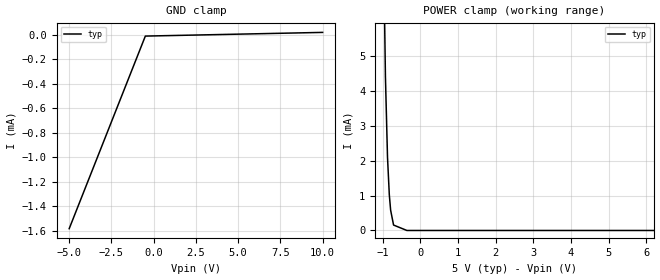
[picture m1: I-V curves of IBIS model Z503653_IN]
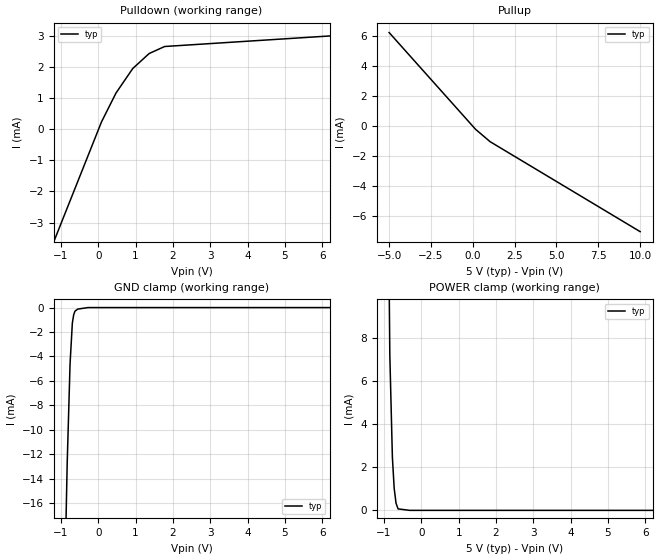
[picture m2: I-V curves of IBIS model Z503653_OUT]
| YOU ARE ONLY AUTHORIZED TO USE THIS SOFTWARE
| ACCORDING TO LICENSOR'S LICENSE RESTRICTIONS.
[IBIS Ver] 3.1
[File Name] mc14536bcl.ibs
[File Rev] 2.0
[Source] Measured and created by ICX Technology
[Date] Friday 7/14/00 9:07:56 AM
[Copyright]
| (C) COPYRIGHT 1993-2000
| MENTOR GRAPHICS CORPORATION
| ICX STANDARD LIBRARY, ICX PROJECT MODELING,
| ICX CUSTOM MODELING, ICX VENDOR MODEL
| ALL RIGHTS RESERVED.
| THE FOLLOWING ARE TRADEMARKS OR SERVICE MARKS OF
| MENTOR GRAPHICS CORPORATION:ICX (R), ICX STANDARD
| LIBRARY(R), ICX PROJECT MODELING(R), ICX CUSTOM
| MODELING(R), qualityIBIS(TM), MODELVIEWER(TM),
| AND MODELEDITOR(TM)
| ALL COPIES OF SOFTWARE, INCLUDING BUT NOT LIMITED TO
| ANY MODIFICATIONS, ENHANCEMENTS OR DERIVATIVE WORKS,
| MUST CONTAIN ALL MENTOR GRAPHICS CORPORATION'S
| NOTICES AND LEGENDS, INCLUDING THOSE EMBEDDED IN
| SOFTWARE AND THOSE AFFIXED TO SOFTWARE MEDIUM
| AND CONTAINER, AS RECEIVED FROM MENTOR GRAPHICS
| CORPORATION.
|  ZAP Model Builder 2.7
[Component] MC14536BCL
[Manufacturer] OnSemiconductor
[Package]
| variable   typ   min   max
R_pkg  .212ohms NA NA
L_pkg  4.758nH NA NA
C_pkg  1.944pF NA NA
[Pin] signal_name  model_name  R_pin  L_pin C_pin
1 SET Z503653_IN .224 7.258n 2.683p
2 RESET Z503653_IN .216 5.258n 2.19p
3 IN1 Z503653_IN .208 3.758n 1.697p
4 OUT1 Z503653_OUT .2 2.758n 1.204p
5 OUT2 Z503653_OUT .2 2.758n 1.204p
6 8_BYPASS Z503653_IN .208 3.758n 1.697p
7 CLK_INH Z503653_IN .216 5.258n 2.19p
8 VSS POWER .224 7.258n 2.683p
9 A Z503653_IN .224 7.258n 2.683p
10 B Z503653_IN .216 5.258n 2.19p
11 C Z503653_IN .208 3.758n 1.697p
12 D Z503653_IN .2 2.758n 1.204p
13 DECODE Z503653_OUT .2 2.758n 1.204p
14 OSC_INH Z503653_IN .208 3.758n 1.697p
15 MONO_IN Z503653_IN .216 5.258n 2.19p
16 VDD POWER .224 7.258n 2.683p
| Models and submodels in the file (2): Z503653_IN (Input), Z503653_OUT (Output)
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| (C) COPYRIGHT 1993-2000
| MENTOR GRAPHICS CORPORATION
| ICX STANDARD LIBRARY, ICX PROJECT MODELING,
| ICX CUSTOM MODELING, ICX VENDOR MODEL
| ALL RIGHTS RESERVED.
| THE FOLLOWING ARE TRADEMARKS OR SERVICE MARKS OF
| MENTOR GRAPHICS CORPORATION:ICX (R), ICX STANDARD
| LIBRARY(R), ICX PROJECT MODELING(R), ICX CUSTOM
| MODELING(R), qualityIBIS(TM), MODELVIEWER(TM),
| AND MODELEDITOR(TM)
| ALL COPIES OF SOFTWARE, INCLUDING BUT NOT LIMITED TO
| ANY MODIFICATIONS, ENHANCEMENTS OR DERIVATIVE WORKS,
| MUST CONTAIN ALL MENTOR GRAPHICS CORPORATION'S
| NOTICES AND LEGENDS, INCLUDING THOSE EMBEDDED IN
| SOFTWARE AND THOSE AFFIXED TO SOFTWARE MEDIUM
| AND CONTAINER, AS RECEIVED FROM MENTOR GRAPHICS
| CORPORATION.
| Model Application Version 1.89 2/18/99.
[Model] Z503653_IN
Model_type Input
Vinl = 1.500V
Vinh = 3.500V
C_comp 4.000pF NA NA
| variable typ   min   max
[Voltage Range] 5.000V NA NA
[GND Clamp Reference] 0.000V NA NA
[POWER Clamp Reference] 5.000V NA NA
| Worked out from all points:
|   POWER clamp passes 1 mA (typ) near -0.82 V on its own axis
[GND Clamp]
-5V       -1.583mA   NA         NA
-493mV    -12.25uA   NA         NA
10V       17.87uA    NA         NA
[POWER Clamp]
-5V       443.3mA    NA         NA
-1.015V   11.24mA    NA         NA
-923mV    4.398mA    NA         NA
-868mV    2.101mA    NA         NA
-820mV    1.021mA    NA         NA
-785mV    581uA      NA         NA
-707mV    155.2uA    NA         NA
-353.5mV  0A         NA         NA
10V       0A         NA         NA
| (C) COPYRIGHT 1993-2000
| MENTOR GRAPHICS CORPORATION
| ICX STANDARD LIBRARY, ICX PROJECT MODELING,
| ICX CUSTOM MODELING, ICX VENDOR MODEL
| ALL RIGHTS RESERVED.
| THE FOLLOWING ARE TRADEMARKS OR SERVICE MARKS OF
| MENTOR GRAPHICS CORPORATION:ICX (R), ICX STANDARD
| LIBRARY(R), ICX PROJECT MODELING(R), ICX CUSTOM
| MODELING(R), qualityIBIS(TM), MODELVIEWER(TM),
| AND MODELEDITOR(TM)
| ALL COPIES OF SOFTWARE, INCLUDING BUT NOT LIMITED TO
| ANY MODIFICATIONS, ENHANCEMENTS OR DERIVATIVE WORKS,
| MUST CONTAIN ALL MENTOR GRAPHICS CORPORATION'S
| NOTICES AND LEGENDS, INCLUDING THOSE EMBEDDED IN
| SOFTWARE AND THOSE AFFIXED TO SOFTWARE MEDIUM
| AND CONTAINER, AS RECEIVED FROM MENTOR GRAPHICS
| CORPORATION.
| Model Application Version 1.89 2/18/99.
[Model] Z503653_OUT
Model_type Output
Vref=0.000V
Rref=500.0Mohms
Cref=50.00pF
Vmeas=2.500V
C_comp 8.000pF NA NA
| variable typ   min   max
[Voltage Range] 5.000V NA NA
[POWER Clamp Reference] 5.000V NA NA
[Pullup Reference] 5.000V NA NA
[Pulldown Reference] 0.000V NA NA
[GND Clamp Reference] 0.000V NA NA
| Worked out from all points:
|   slope of the pulldown table from 0 to 0.75 V, typ, clamps not added: 448 ohm
|   slope of the pullup table from 0 to 0.75 V, typ, clamps not added: 988 ohm
|   GND clamp passes 1 mA (typ) near -0.68 V on its own axis
|   POWER clamp passes 1 mA (typ) near -0.73 V on its own axis
[GND Clamp]
-5V       -627.2mA   NA         NA
-833.9mV  -12.77mA   NA         NA
-757mV    -4.61mA    NA         NA
-695.6mV  -1.263mA   NA         NA
-659.3mV  -581.6uA   NA         NA
-625mV    -293.2uA   NA         NA
-551.5mV  -125.4uA   NA         NA
-275.8mV  0A         NA         NA
10V       0A         NA         NA
[Pulldown]
-5V       -15.12mA   NA         NA
84.95mV   241.7uA    NA         NA
474.1mV   1.174mA    NA         NA
923mV     1.964mA    NA         NA
1.362V    2.447mA    NA         NA
1.778V    2.674mA    NA         NA
10V       3.306mA    NA         NA
[Pullup]
-5V       6.198mA    NA         NA
166mV     -223.9uA   NA         NA
1.034V    -1.045mA   NA         NA
10V       -7.016mA   NA         NA
[POWER Clamp]
-5V       790.3mA    NA         NA
-845mV    7.243mA    NA         NA
-776mV    2.47mA     NA         NA
-728mV    1.027mA    NA         NA
-678mV    329.8uA    NA         NA
-623mV    68.45uA    NA         NA
-311.5mV  0A         NA         NA
10V       0A         NA         NA
[Ramp]
| variable typ min max
dV/dt_r 2.072/22.96n NA NA
dV/dt_f 2.072/24.37n NA NA
R_load = 2.500kOhms
